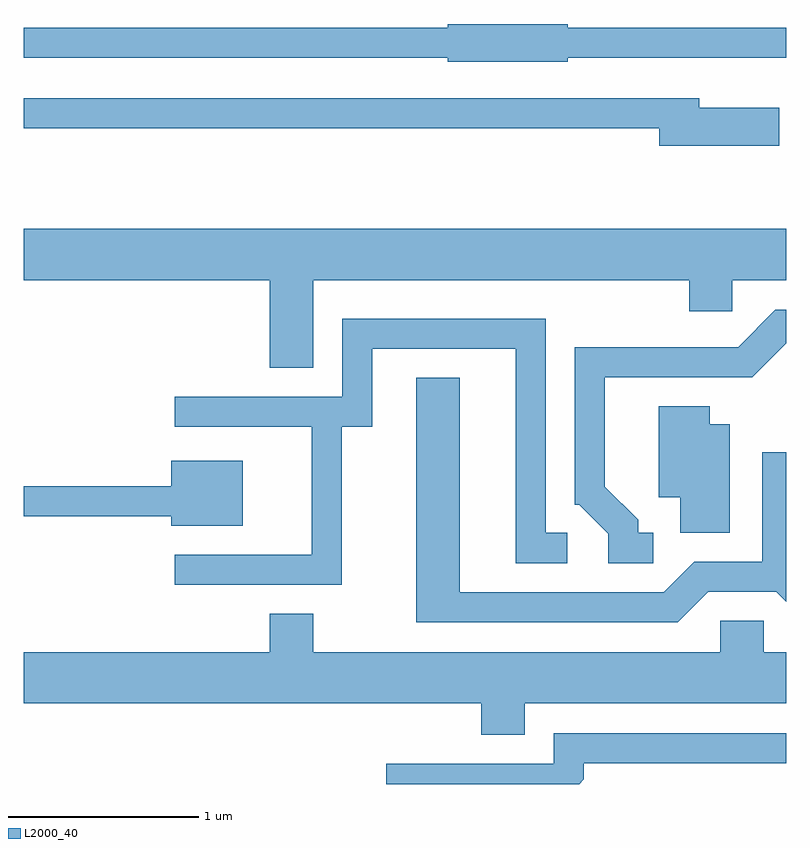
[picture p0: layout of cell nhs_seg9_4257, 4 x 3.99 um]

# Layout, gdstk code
import gdstk
lib = gdstk.Library(unit=1e-6, precision=1e-09)
def P(c, l, *ps):  # polygons
    for p in ps: c.add(gdstk.Polygon(p, *l))
L2000_40 = (2000, 40)

nhs_seg9_4257 = lib.new_cell('nhs_seg9_4257')
P(nhs_seg9_4257, L2000_40, [(312.464,2066.241),(313.611,2066.241),(313.611,2066.399),(312.464,2066.399),(312.464,2066.419),(311.836,2066.419),(311.836,2066.399),(309.611,2066.399),(309.611,2066.241),(311.836,2066.241),(311.836,2066.221),(312.464,2066.221)],
  [(313.574,2065.979),(313.154,2065.979),(313.154,2066.029),(309.611,2066.029),(309.611,2065.871),(312.946,2065.871),(312.946,2065.781),(313.574,2065.781)],
  [(311.129,2065.076),(313.101,2065.076),(313.101,2064.911),(313.329,2064.911),(313.329,2065.076),(313.611,2065.076),(313.611,2065.344),(309.611,2065.344),(309.611,2065.076),(310.901,2065.076),(310.901,2064.616),(311.129,2064.616)],
  [(312.913,2063.749),(312.834,2063.749),(312.834,2063.817),(312.659,2063.992),(312.659,2064.566),(313.432,2064.566),(313.611,2064.745),(313.611,2064.919),(313.554,2064.919),(313.359,2064.724),(312.501,2064.724),(312.501,2063.896),(312.524,2063.896),(312.676,2063.744),(312.676,2063.591),(312.913,2063.591)],
  [(311.279,2064.306),(311.439,2064.306),(311.439,2064.716),(312.191,2064.716),(312.191,2063.591),(312.463,2063.591),(312.463,2063.749),(312.349,2063.749),(312.349,2064.874),(311.281,2064.874),(311.281,2064.464),(310.403,2064.464),(310.403,2064.306),(311.121,2064.306),(311.121,2063.634),(310.403,2063.634),(310.403,2063.476),(311.279,2063.476)],
  [(313.202,2063.441),(313.559,2063.441),(313.611,2063.389),(313.611,2064.173),(313.486,2064.173),(313.486,2063.599),(313.129,2063.599),(312.969,2063.439),(311.899,2063.439),(311.899,2064.564),(311.671,2064.564),(311.671,2063.281),(313.042,2063.281)],
  [(313.314,2064.319),(313.209,2064.319),(313.209,2064.414),(312.941,2064.414),(312.941,2063.936),(313.056,2063.936),(313.056,2063.751),(313.314,2063.751)],
  [(310.759,2064.129),(310.386,2064.129),(310.386,2063.994),(309.611,2063.994),(309.611,2063.836),(310.386,2063.836),(310.386,2063.786),(310.759,2063.786)],
  [(312.239,2062.856),(313.611,2062.856),(313.611,2063.124),(313.494,2063.124),(313.494,2063.289),(313.266,2063.289),(313.266,2063.124),(311.129,2063.124),(311.129,2063.324),(310.901,2063.324),(310.901,2063.124),(309.611,2063.124),(309.611,2062.856),(312.011,2062.856),(312.011,2062.691),(312.239,2062.691)],
  [(312.549,2062.457),(312.549,2062.541),(313.611,2062.541),(313.611,2062.699),(312.391,2062.699),(312.391,2062.539),(311.513,2062.539),(311.513,2062.432),(312.524,2062.432)])

lib.write_gds('nhs_seg9_4257.gds')
